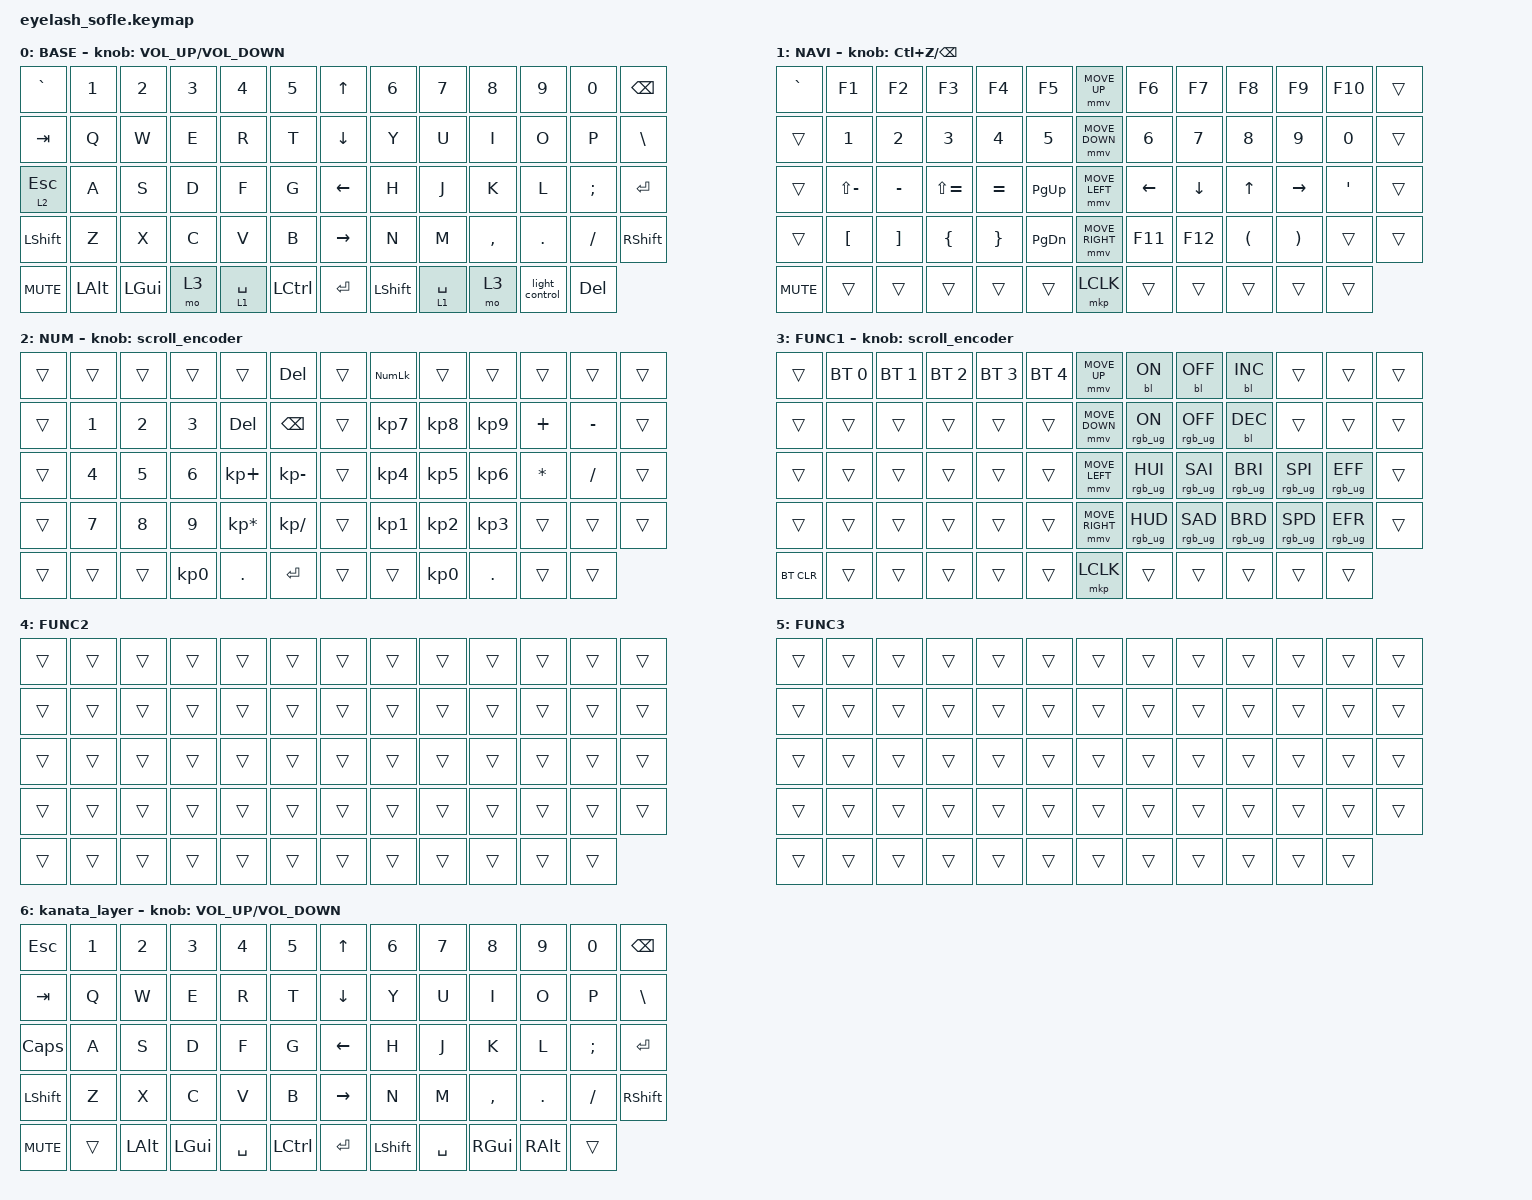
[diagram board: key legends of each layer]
#define ZMK_POINTING_DEFAULT_MOVE_VAL 1200  // 600
#define ZMK_POINTING_DEFAULT_SCRL_VAL 25   // 10

#include <input/processors.dtsi>
#include <zephyr/dt-bindings/input/input-event-codes.h>
#include <behaviors.dtsi>
#include <dt-bindings/zmk/backlight.h>
#include <dt-bindings/zmk/bt.h>
#include <dt-bindings/zmk/keys.h>
#include <dt-bindings/zmk/pointing.h>
#include <dt-bindings/zmk/rgb.h>

/ {
    zip_scroll_scaler: zip_scroll_scaler {
        compatible = "zmk,input-processor-scaler";
        #input-processor-cells = <2>;
        type = <INPUT_EV_REL>;
        codes = <INPUT_REL_WHEEL INPUT_REL_HWHEEL>;
        track-remainders;
    };
};

&mmv_input_listener { input-processors = <&zip_xy_scaler 2 1>; };

&msc_input_listener { input-processors = <&zip_scroll_scaler 2 1>; };

&msc {
    acceleration-exponent = <1>;      // 0
    time-to-max-speed-ms = <100>;       // 300
    delay-ms = <0>;                   // 0
};

&mmv {
    time-to-max-speed-ms = <500>;
    acceleration-exponent = <1>;
    trigger-period-ms = <16>;
};

/ {
    scroll_encoder: scroll_encoder {
        compatible = "zmk,behavior-sensor-rotate";
        #sensor-binding-cells = <0>;
        bindings = <&msc SCRL_DOWN>, <&msc SCRL_UP>;

        tap-ms = <30>;
    };

    hold2layer: hold2layer {
        compatible = "zmk,behavior-hold-tap";
        bindings = <&mo>, <&kp>;

        #binding-cells = <2>;
        tapping-term-ms = <120>;
    };

    shift2cap: shift2cap {
        compatible = "zmk,behavior-tap-dance";
        #binding-cells = <0>;
        bindings = <&kp LEFT_SHIFT>, <&kp CAPS>;
    };

    light_control: light_control {
        compatible = "zmk,behavior-tap-dance";
        #binding-cells = <0>;
        bindings = <&rgb_ug RGB_EFF>, <&rgb_ug RGB_TOG>;
    };

    cap2esc: cap2esc {
        compatible = "zmk,behavior-hold-tap";
        label = "CAP2ESC";
        bindings = <&none>, <&none>;

        #binding-cells = <2>;
        tapping-term-ms = <100>;
        flavor = "tap-unless-interrupted";
    };

    combos {
        compatible = "zmk,combos";

        DF {
            bindings = <&tog 6>;
            key-positions = <12 51>;
        };
    };

    behaviors {
    };

    keymap {
        compatible = "zmk,keymap";

        BASE_layer {
            bindings = <
&kp GRAVE          &kp N1        &kp N2        &kp N3  &kp N4               &kp N5       &kp UP_ARROW     &kp N6          &kp N7               &kp N8     &kp N9          &kp N0      &kp BACKSPACE
&kp TAB            &kp Q         &kp W         &kp E   &kp R                &kp T        &kp DOWN_ARROW   &kp Y           &kp U                &kp I      &kp O           &kp P       &kp BACKSLASH
&hold2layer 2 ESC  &kp A         &kp S         &kp D   &kp F                &kp G        &kp LEFT_ARROW   &kp H           &kp J                &kp K      &kp L           &kp SEMI    &kp ENTER
&kp LEFT_SHIFT     &kp Z         &kp X         &kp C   &kp V                &kp B        &kp RIGHT_ARROW  &kp N           &kp M                &kp COMMA  &kp DOT         &kp FSLH    &kp RIGHT_SHIFT
&kp C_MUTE         &kp LEFT_ALT  &kp LEFT_GUI  &mo 3   &hold2layer 1 SPACE  &kp LCTRL    &kp ENTER        &kp LEFT_SHIFT  &hold2layer 1 SPACE  &mo 3      &light_control  &kp DELETE
            >;

            sensor-bindings = <&inc_dec_kp C_VOL_UP C_VOLUME_DOWN>;
            display-name = "BASE";
        };

        NAVI_Layer {
            bindings = <
&kp GRAVE   &kp F1         &kp F2        &kp F3          &kp F4           &kp F5           &mmv MOVE_UP     &kp F6    &kp F7    &kp F8                &kp F9                 &kp F10   &trans
&trans      &kp N1         &kp NUMBER_2  &kp N3          &kp N4           &kp N5           &mmv MOVE_DOWN   &kp N6    &kp N7    &kp N8                &kp N9                 &kp N0    &trans
&trans      &kp LS(MINUS)  &kp MINUS     &kp LS(EQUAL)   &kp EQUAL        &kp PAGE_UP      &mmv MOVE_LEFT   &kp LEFT  &kp DOWN  &kp UP                &kp RIGHT              &kp APOS  &trans
&trans      &kp LBKT       &kp RBKT      &kp LEFT_BRACE  &kp RIGHT_BRACE  &kp PAGE_DOWN    &mmv MOVE_RIGHT  &kp F11   &kp F12   &kp LEFT_PARENTHESIS  &kp RIGHT_PARENTHESIS  &trans    &trans
&kp C_MUTE  &trans         &trans        &trans          &trans           &trans           &mkp LCLK        &trans    &trans    &trans                &trans                 &trans
            >;

            sensor-bindings = <&inc_dec_kp LC(Z) BACKSPACE>;
            display-name = "NAVI";
        };

        NUM_layer {
            bindings = <
&trans  &trans  &trans  &trans     &trans           &kp DEL            &trans  &kp KP_NUMLOCK   &trans           &trans           &trans        &trans     &trans
&trans  &kp N1  &kp N2  &kp N3     &kp DEL          &kp BACKSPACE      &trans  &kp KP_NUMBER_7  &kp KP_NUMBER_8  &kp KP_NUMBER_9  &kp PLUS      &kp MINUS  &trans
&trans  &kp N4  &kp N5  &kp N6     &kp KP_PLUS      &kp KP_SUBTRACT    &trans  &kp KP_NUMBER_4  &kp KP_NUMBER_5  &kp KP_NUMBER_6  &kp ASTERISK  &kp SLASH  &trans
&trans  &kp N7  &kp N8  &kp N9     &kp KP_MULTIPLY  &kp KP_DIVIDE      &trans  &kp KP_NUMBER_1  &kp KP_NUMBER_2  &kp KP_NUMBER_3  &trans        &trans     &trans
&trans  &trans  &trans  &kp KP_N0  &kp PERIOD       &kp ENTER          &trans  &trans           &kp KP_N0        &kp PERIOD       &trans        &trans
            >;

            display-name = "NUM";
            sensor-bindings = <&scroll_encoder>;
        };

        FUNC_layer1 {
            bindings = <
&trans      &bt BT_SEL 0  &bt BT_SEL 1  &bt BT_SEL 2  &bt BT_SEL 3  &bt BT_SEL 4    &mmv MOVE_UP     &bl BL_ON        &bl BL_OFF       &bl BL_INC       &trans           &trans           &trans
&trans      &trans        &trans        &trans        &trans        &trans          &mmv MOVE_DOWN   &rgb_ug RGB_ON   &rgb_ug RGB_OFF  &bl BL_DEC       &trans           &trans           &trans
&trans      &trans        &trans        &trans        &trans        &trans          &mmv MOVE_LEFT   &rgb_ug RGB_HUI  &rgb_ug RGB_SAI  &rgb_ug RGB_BRI  &rgb_ug RGB_SPI  &rgb_ug RGB_EFF  &trans
&trans      &trans        &trans        &trans        &trans        &trans          &mmv MOVE_RIGHT  &rgb_ug RGB_HUD  &rgb_ug RGB_SAD  &rgb_ug RGB_BRD  &rgb_ug RGB_SPD  &rgb_ug RGB_EFR  &trans
&bt BT_CLR  &trans        &trans        &trans        &trans        &trans          &mkp LCLK        &trans           &trans           &trans           &trans           &trans
            >;

            sensor-bindings = <&scroll_encoder>;
            display-name = "FUNC1";
        };

        FUNC_layer2 {
            bindings = <
&trans  &trans  &trans  &trans  &trans  &trans    &trans  &trans  &trans  &trans  &trans  &trans  &trans
&trans  &trans  &trans  &trans  &trans  &trans    &trans  &trans  &trans  &trans  &trans  &trans  &trans
&trans  &trans  &trans  &trans  &trans  &trans    &trans  &trans  &trans  &trans  &trans  &trans  &trans
&trans  &trans  &trans  &trans  &trans  &trans    &trans  &trans  &trans  &trans  &trans  &trans  &trans
&trans  &trans  &trans  &trans  &trans  &trans    &trans  &trans  &trans  &trans  &trans  &trans
            >;

            display-name = "FUNC2";
        };

        FUNC_layer3 {
            bindings = <
&trans  &trans  &trans  &trans  &trans  &trans    &trans  &trans  &trans  &trans  &trans  &trans  &trans
&trans  &trans  &trans  &trans  &trans  &trans    &trans  &trans  &trans  &trans  &trans  &trans  &trans
&trans  &trans  &trans  &trans  &trans  &trans    &trans  &trans  &trans  &trans  &trans  &trans  &trans
&trans  &trans  &trans  &trans  &trans  &trans    &trans  &trans  &trans  &trans  &trans  &trans  &trans
&trans  &trans  &trans  &trans  &trans  &trans    &trans  &trans  &trans  &trans  &trans  &trans
            >;

            display-name = "FUNC3";
        };

        kanata_layer {
            bindings = <
&kp ESC     &kp N1  &kp N2    &kp N3    &kp N4     &kp N5       &kp UP_ARROW  &kp N6     &kp N7     &kp N8     &kp N9    &kp N0    &kp BSPC
&kp TAB     &kp Q   &kp W     &kp E     &kp R      &kp T        &kp DOWN      &kp Y      &kp U      &kp I      &kp O     &kp P     &kp BSLH
&kp CAPS    &kp A   &kp S     &kp D     &kp F      &kp G        &kp LEFT      &kp H      &kp J      &kp K      &kp L     &kp SEMI  &kp ENTER
&kp LSHFT   &kp Z   &kp X     &kp C     &kp V      &kp B        &kp RIGHT     &kp N      &kp M      &kp COMMA  &kp DOT   &kp FSLH  &kp RSHFT
&kp C_MUTE  &trans  &kp LALT  &kp LGUI  &kp SPACE  &kp LCTRL    &kp ENTER     &kp LSHFT  &kp SPACE  &kp RGUI   &kp RALT  &trans
            >;

            sensor-bindings = <&inc_dec_kp C_VOLUME_UP C_VOLUME_DOWN>;
        };
    };
};
